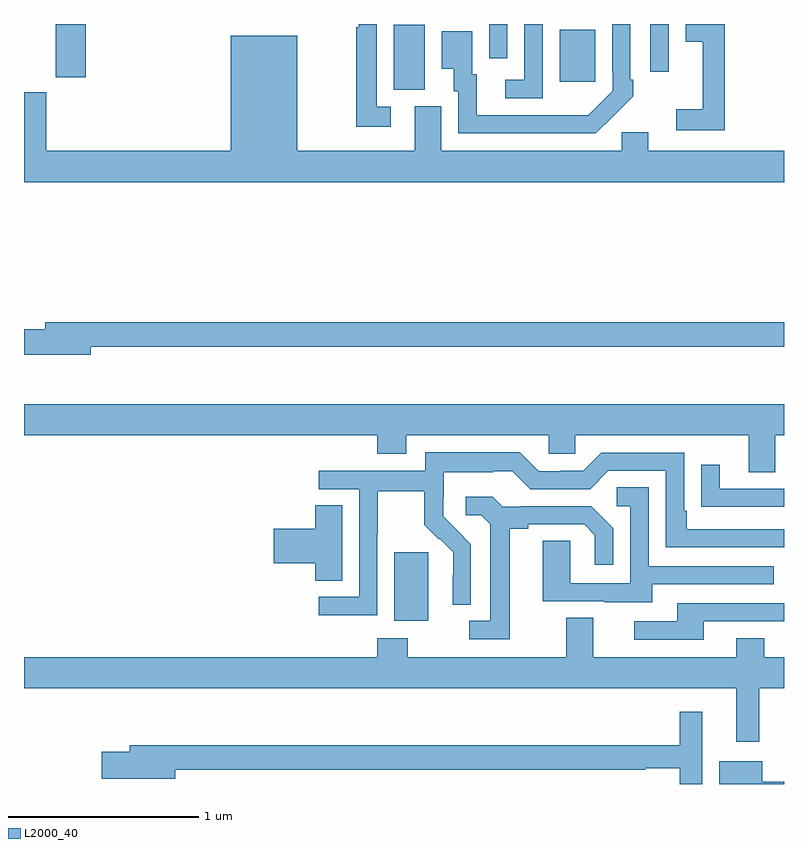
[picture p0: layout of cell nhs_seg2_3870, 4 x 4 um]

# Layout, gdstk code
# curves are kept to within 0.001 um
import gdstk
lib = gdstk.Library(unit=1e-6, precision=1e-09)
def R(c, l, rs):  # rectangles x0, y0, x1, y1
    for r in rs: c.add(gdstk.rectangle(r[:2], r[2:], *l))
def P(c, l, *ps):  # polygons
    for p in ps: c.add(gdstk.Polygon(p, *l))
L2000_40 = (2000, 40)

nhs_seg2_3870 = lib.new_cell('nhs_seg2_3870')
R(nhs_seg2_3870, L2000_40, [(316.949,646.658,317.128,647.019), (316.946,649.453,317.11,649.796), (317.819,649.497,318.007,649.771), (315.166,649.521,315.326,649.8), (318.297,649.548,318.393,649.8), (317.448,649.62,317.544,649.8)])
P(nhs_seg2_3870, L2000_40, [(318.101,649.315),(318.102,649.314),(318.207,649.419),(318.207,649.507),(318.192,649.507),(318.192,649.8),(318.096,649.8),(318.096,649.549),(318.099,649.549),(318.099,649.449),(317.971,649.321),(317.383,649.32),(317.383,649.536),(317.359,649.536),(317.359,649.762),(317.198,649.762),(317.198,649.565),(317.261,649.565),(317.261,649.446),(317.286,649.446),(317.286,649.224),(318.01,649.224)],
  [(316.93,649.365),(316.857,649.365),(316.857,649.8),(316.761,649.8),(316.761,649.784),(316.749,649.784),(316.749,649.26),(316.93,649.26)],
  [(317.73,649.8),(317.634,649.8),(317.634,649.506),(317.532,649.506),(317.532,649.41),(317.73,649.41)],
  [(318.689,649.8),(318.482,649.8),(318.482,649.706),(318.572,649.706),(318.572,649.351),(318.432,649.351),(318.432,649.242),(318.689,649.242)],
  [(319,649.132),(318.286,649.132),(318.286,649.23),(318.147,649.23),(318.147,649.132),(317.197,649.132),(317.197,649.368),(317.057,649.368),(317.057,649.132),(316.438,649.132),(316.438,649.738),(316.088,649.738),(316.088,649.132),(315.118,649.132),(315.118,649.441),(315,649.441),(315,648.968),(319,648.968)],
  [(315.352,648.102),(319,648.102),(319,648.23),(315.113,648.23),(315.113,648.194),(315,648.194),(315,648.059),(315.352,648.059)],
  [(318.955,647.636),(319,647.636),(319,647.8),(315,647.8),(315,647.636),(316.859,647.636),(316.859,647.537),(317.011,647.537),(317.011,647.636),(317.763,647.636),(317.763,647.538),(317.901,647.538),(317.901,647.636),(318.815,647.636),(318.815,647.442),(318.955,647.442)],
  [(316.86,647.116),(316.863,647.116),(316.863,647.34),(317.107,647.34),(317.107,647.165),(317.184,647.088),(317.187,647.091),(317.258,647.021),(317.258,646.898),(317.256,646.898),(317.256,646.744),(317.352,646.744),(317.352,647.062),(317.206,647.21),(317.206,647.307),(317.208,647.307),(317.208,647.441),(317.471,647.441),(317.471,647.445),(317.571,647.445),(317.664,647.352),(317.979,647.352),(318.075,647.448),(318.378,647.448),(318.378,647.046),(319,647.046),(319,647.142),(318.487,647.142),(318.487,647.239),(318.474,647.239),(318.474,647.544),(318.039,647.544),(317.943,647.448),(317.825,647.448),(317.825,647.445),(317.709,647.445),(317.609,647.545),(317.112,647.545),(317.112,647.448),(316.551,647.448),(316.551,647.352),(316.764,647.352),(316.764,646.785),(316.551,646.785),(316.551,646.687),(316.86,646.687)],
  [(319,647.355),(318.661,647.355),(318.661,647.479),(318.565,647.479),(318.565,647.26),(318.667,647.26),(318.667,647.259),(319,647.259)],
  [(318.307,646.851),(318.947,646.851),(318.947,646.947),(318.288,646.947),(318.288,647.363),(318.12,647.363),(318.12,647.262),(318.192,647.262),(318.192,646.857),(317.874,646.857),(317.874,647.081),(317.729,647.081),(317.729,646.761),(318.053,646.761),(318.053,646.757),(318.307,646.757)],
  [(317.557,647.144),(317.653,647.144),(317.653,647.166),(317.948,647.166),(318.005,647.109),(318.005,646.953),(318.102,646.953),(318.102,647.146),(317.986,647.262),(317.614,647.262),(317.614,647.259),(317.52,647.259),(317.468,647.311),(317.325,647.311),(317.325,647.214),(317.406,647.214),(317.453,647.167),(317.453,646.659),(317.343,646.659),(317.343,646.563),(317.557,646.563)],
  [(316.675,647.267),(316.532,647.267),(316.532,647.144),(316.314,647.144),(316.314,646.961),(316.532,646.961),(316.532,646.87),(316.675,646.87)],
  [(318.577,646.656),(319,646.656),(319,646.752),(318.437,646.752),(318.437,646.656),(318.213,646.656),(318.213,646.56),(318.577,646.56)],
  [(318.871,646.304),(319,646.304),(319,646.468),(318.897,646.468),(318.897,646.567),(318.749,646.567),(318.749,646.468),(317.995,646.468),(317.995,646.676),(317.855,646.676),(317.855,646.468),(317.019,646.468),(317.019,646.567),(316.859,646.567),(316.859,646.468),(315,646.468),(315,646.304),(318.749,646.304),(318.749,646.023),(318.871,646.023)],
  [(318.571,646.18),(318.45,646.18),(318.45,646.003),(315.557,646.003),(315.557,645.969),(315.408,645.969),(315.408,645.827),(315.796,645.827),(315.796,645.874),(318.271,645.874),(318.271,645.882),(318.45,645.882),(318.45,645.8),(318.571,645.8)],
  [(319,645.813),(318.886,645.813),(318.886,645.919),(318.659,645.919),(318.659,645.8),(319,645.8)])

lib.write_gds('nhs_seg2_3870.gds')
